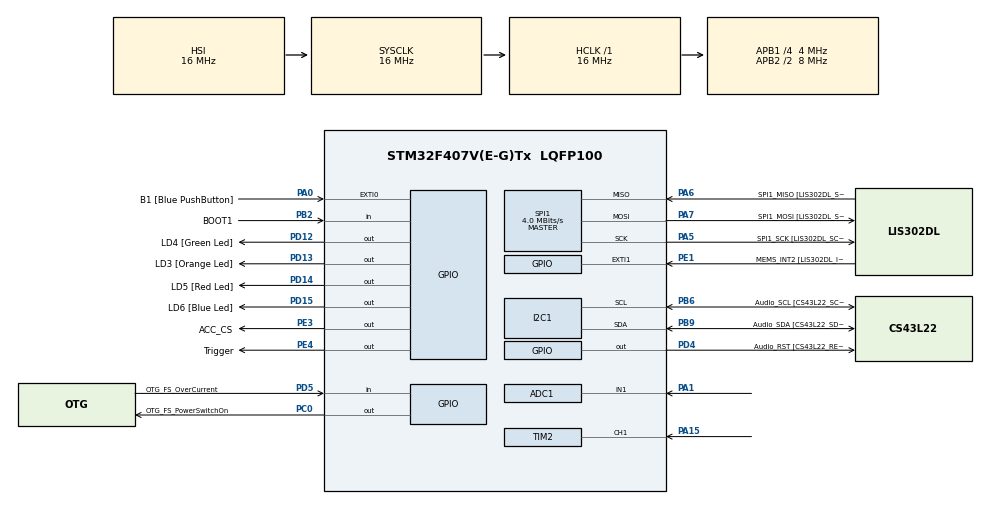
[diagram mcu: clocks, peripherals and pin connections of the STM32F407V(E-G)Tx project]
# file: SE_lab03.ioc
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ADC1.Channel-0\#ChannelRegularConversion=ADC_CHANNEL_1
ADC1.NbrOfConversionFlag=1
ADC1.Rank-0\#ChannelRegularConversion=1
ADC1.SamplingTime-0\#ChannelRegularConversion=ADC_SAMPLETIME_3CYCLES
ADC1.master=1
Mcu.Family=STM32F4
Mcu.Name=STM32F407V(E-G)Tx
Mcu.Package=LQFP100
NVIC.PriorityGroup=NVIC_PRIORITYGROUP_0
NVIC.TIM2_IRQn=true\:0\:0\:false\:false\:true\:true\:true\:true
PA0-WKUP.GPIO_Label=B1 [Blue PushButton]
PA0-WKUP.Signal=GPXTI0
PA1.Signal=ADCx_IN1
PA10.GPIO_Label=OTG_FS_ID
PA10.GPIO_Mode=GPIO_MODE_AF_PP
PA10.GPIO_PuPd=GPIO_NOPULL
PA10.GPIO_Speed=GPIO_SPEED_FREQ_LOW
PA10.Signal=USB_OTG_FS_ID
PA11.GPIO_Label=OTG_FS_DM
PA11.GPIO_Mode=GPIO_MODE_AF_PP
PA11.GPIO_PuPd=GPIO_NOPULL
PA11.GPIO_Speed=GPIO_SPEED_FREQ_LOW
PA11.Signal=USB_OTG_FS_DM
PA12.GPIO_Label=OTG_FS_DP
PA12.GPIO_Mode=GPIO_MODE_AF_PP
PA12.GPIO_PuPd=GPIO_NOPULL
PA12.GPIO_Speed=GPIO_SPEED_FREQ_LOW
PA12.Signal=USB_OTG_FS_DP
PA13.GPIO_Label=SWDIO
PA13.Mode=Serial_Wire
PA13.Signal=SYS_JTMS-SWDIO
PA14.GPIO_Label=SWCLK
PA14.Mode=Serial_Wire
PA14.Signal=SYS_JTCK-SWCLK
PA15.Signal=S_TIM2_CH1_ETR
PA4.GPIO_Label=I2S3_WS [CS43L22_LRCK]
PA4.GPIO_Mode=GPIO_MODE_AF_PP
PA4.GPIO_PuPd=GPIO_NOPULL
PA4.GPIO_Speed=GPIO_SPEED_FREQ_LOW
PA4.Signal=I2S3_WS
PA5.GPIO_Label=SPI1_SCK [LIS302DL_SCL/SPC]
PA5.GPIO_Mode=GPIO_MODE_AF_PP
PA5.GPIO_PuPd=GPIO_NOPULL
PA5.GPIO_Speed=GPIO_SPEED_FREQ_LOW
PA5.Mode=Full_Duplex_Master
PA5.Signal=SPI1_SCK
PA6.GPIO_Label=SPI1_MISO [LIS302DL_SDO]
PA6.GPIO_Mode=GPIO_MODE_AF_PP
PA6.GPIO_PuPd=GPIO_NOPULL
PA6.GPIO_Speed=GPIO_SPEED_FREQ_LOW
PA6.Mode=Full_Duplex_Master
PA6.Signal=SPI1_MISO
PA7.GPIO_Label=SPI1_MOSI [LIS302DL_SDA/SDI/SDO]
PA7.GPIO_Mode=GPIO_MODE_AF_PP
PA7.GPIO_PuPd=GPIO_NOPULL
PA7.GPIO_Speed=GPIO_SPEED_FREQ_LOW
PA7.Mode=Full_Duplex_Master
PA7.Signal=SPI1_MOSI
PA9.GPIO_Label=VBUS_FS
PA9.GPIO_Mode=GPIO_MODE_INPUT
PA9.GPIO_PuPd=GPIO_NOPULL
PA9.Signal=USB_OTG_FS_VBUS
PB10.GPIO_Label=CLK_IN [MP45DT02_CLK]
PB10.GPIO_Mode=GPIO_MODE_AF_PP
PB10.GPIO_PuPd=GPIO_NOPULL
PB10.GPIO_Speed=GPIO_SPEED_FREQ_LOW
PB10.Signal=I2S2_CK
PB2.GPIO_Label=BOOT1
PB2.GPIO_Mode=GPIO_MODE_INPUT
PB2.GPIO_PuPd=GPIO_NOPULL
PB2.Signal=GPIO_Input
PB3.GPIO_Label=SWO
PB3.Signal=SYS_JTDO-SWO
PB6.GPIO_Label=Audio_SCL [CS43L22_SCL]
PB6.GPIO_Mode=GPIO_MODE_AF_OD
PB6.GPIO_PuPd=GPIO_NOPULL
PB6.GPIO_Speed=GPIO_SPEED_FREQ_LOW
PB6.Mode=I2C
PB6.Signal=I2C1_SCL
PB9.GPIO_Label=Audio_SDA [CS43L22_SDA]
PB9.GPIO_Mode=GPIO_MODE_AF_OD
PB9.GPIO_PuPd=GPIO_NOPULL
PB9.GPIO_Speed=GPIO_SPEED_FREQ_LOW
PB9.Mode=I2C
PB9.Signal=I2C1_SDA
PC0.GPIO_Label=OTG_FS_PowerSwitchOn
PC0.GPIO_PuPd=GPIO_NOPULL
PC0.GPIO_Speed=GPIO_SPEED_FREQ_LOW
PC0.PinState=GPIO_PIN_SET
PC0.Signal=GPIO_Output
PC10.GPIO_Label=I2S3_SCK [CS43L22_SCLK]
PC10.GPIO_Mode=GPIO_MODE_AF_PP
PC10.GPIO_PuPd=GPIO_NOPULL
PC10.GPIO_Speed=GPIO_SPEED_FREQ_LOW
PC10.Signal=I2S3_CK
PC12.GPIO_Label=I2S3_SD [CS43L22_SDIN]
PC12.GPIO_Mode=GPIO_MODE_AF_PP
PC12.GPIO_PuPd=GPIO_NOPULL
PC12.GPIO_Speed=GPIO_SPEED_FREQ_LOW
PC12.Signal=I2S3_SD
PC14-OSC32_IN.GPIO_Label=PC14-OSC32_IN
PC14-OSC32_IN.Signal=RCC_OSC32_IN
PC15-OSC32_OUT.GPIO_Label=PC15-OSC32_OUT
PC15-OSC32_OUT.Signal=RCC_OSC32_OUT
PC3.GPIO_Label=PDM_OUT [MP45DT02_DOUT]
PC3.GPIO_Mode=GPIO_MODE_AF_PP
PC3.GPIO_PuPd=GPIO_NOPULL
PC3.GPIO_Speed=GPIO_SPEED_FREQ_LOW
PC3.Signal=I2S2_SD
PC7.GPIO_Label=I2S3_MCK [CS43L22_MCLK]
PC7.GPIO_Mode=GPIO_MODE_AF_PP
PC7.GPIO_PuPd=GPIO_NOPULL
PC7.GPIO_Speed=GPIO_SPEED_FREQ_LOW
PC7.Signal=I2S3_MCK
PD12.GPIO_Label=LD4 [Green Led]
PD12.GPIO_PuPd=GPIO_NOPULL
PD12.GPIO_Speed=GPIO_SPEED_FREQ_LOW
PD12.Signal=GPIO_Output
PD13.GPIO_Label=LD3 [Orange Led]
PD13.GPIO_PuPd=GPIO_NOPULL
PD13.GPIO_Speed=GPIO_SPEED_FREQ_LOW
PD13.Signal=GPIO_Output
PD14.GPIO_Label=LD5 [Red Led]
PD14.GPIO_PuPd=GPIO_NOPULL
PD14.GPIO_Speed=GPIO_SPEED_FREQ_LOW
PD14.Signal=GPIO_Output
PD15.GPIO_Label=LD6 [Blue Led]
PD15.GPIO_PuPd=GPIO_NOPULL
PD15.GPIO_Speed=GPIO_SPEED_FREQ_LOW
PD15.Signal=GPIO_Output
PD4.GPIO_Label=Audio_RST [CS43L22_RESET]
PD4.GPIO_PuPd=GPIO_NOPULL
PD4.GPIO_Speed=GPIO_SPEED_FREQ_LOW
PD4.Signal=GPIO_Output
PD5.GPIO_Label=OTG_FS_OverCurrent
PD5.GPIO_Mode=GPIO_MODE_INPUT
PD5.GPIO_PuPd=GPIO_NOPULL
PD5.Signal=GPIO_Input
PE1.GPIO_Label=MEMS_INT2 [LIS302DL_INT2]
PE1.GPIO_ModeDefaultEXTI=GPIO_MODE_EVT_RISING
PE1.GPIO_PuPd=GPIO_NOPULL
PE1.Signal=GPXTI1
PE3.GPIO_Label=ACC_CS
PE3.GPIO_PuPd=GPIO_NOPULL
PE3.GPIO_Speed=GPIO_SPEED_FREQ_LOW
PE3.PinState=GPIO_PIN_SET
PE3.Signal=GPIO_Output
PE4.GPIO_Label=Trigger
PE4.Signal=GPIO_Output
PH0-OSC_IN.GPIO_Label=PH0-OSC_IN
PH0-OSC_IN.Signal=RCC_OSC_IN
PH1-OSC_OUT.GPIO_Label=PH1-OSC_OUT
PH1-OSC_OUT.Signal=RCC_OSC_OUT
ProjectManager.HeapSize=0x200
ProjectManager.StackSize=0x400
ProjectManager.TargetToolchain=STM32CubeIDE
RCC.48MHZClocksFreq_Value=14285714.285714285
RCC.AHBFreq_Value=16000000
RCC.APB1CLKDivider=RCC_HCLK_DIV4
RCC.APB1Freq_Value=4000000
RCC.APB1TimFreq_Value=8000000
RCC.APB2CLKDivider=RCC_HCLK_DIV2
RCC.APB2Freq_Value=8000000
RCC.APB2TimFreq_Value=16000000
RCC.CortexFreq_Value=16000000
RCC.HCLKFreq_Value=16000000
RCC.HSE_VALUE=8000000
RCC.HSI_VALUE=16000000
RCC.LSE_VALUE=32768
RCC.PLLM=8
RCC.PLLN=50
RCC.PLLP=RCC_PLLP_DIV4
RCC.PLLQ=7
RCC.SYSCLKFreq_VALUE=16000000
RCC.VCOOutputFreq_Value=100000000
SH.ADCx_IN1.0=ADC1_IN1,IN1
SH.S_TIM2_CH1_ETR.0=TIM2_CH1,Input_Capture1_from_TI1
SPI1.CalculateBaudRate=4.0 MBits/s
SPI1.Direction=SPI_DIRECTION_2LINES
SPI1.Mode=SPI_MODE_MASTER
SPI1.VirtualType=VM_MASTER
TIM2.Channel-Input_Capture1_from_TI1=TIM_CHANNEL_1
TIM2.Prescaler=7
VP_TIM2_VS_ClockSourceINT.Mode=Internal
board=STM32F407G-DISC1

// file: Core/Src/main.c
/* USER CODE BEGIN Header */
/**
 ******************************************************************************
 * @file           : main.c
 * @brief          : Main program body
 ******************************************************************************
 * @attention
 *
 * Copyright (c) 2026 STMicroelectronics.
 * All rights reserved.
 *
 * This software is licensed under terms that can be found in the LICENSE file
 * in the root directory of this software component.
 * If no LICENSE file comes with this software, it is provided AS-IS.
 *
 ******************************************************************************
 */
/* USER CODE END Header */
#include "main.h"
#include "adc.h"
#include "i2c.h"
#include "spi.h"
#include "tim.h"
#include "gpio.h"

/* USER CODE BEGIN Includes */
#include "stm32f4_discovery_accelerometer.h"
#include "HC_SR04.h"
#include "lm35.h"

/* USER CODE END Includes */

/* USER CODE BEGIN PD */
#define ACCEL_MESURAMENT_INTERVALE_MS 50
#define ACCEL_X_UMBRAL 100
#define ACCEL_Y_UMBRAL 100

#define HCSR04_MESURAMENT_INTERVALE_MS 100
#define HCSR04_TIMEOUT_ECO_MS 150
#define LM35_MESURAMENT_INTERVALE_MS 1000
#define ALARM_INTERVALE_MS 100

/* USER CODE END PD */

/* USER CODE BEGIN PV */

HCSR04_HandleTypeDef hcsr04_sensor;
LM35_HandleTypeDef lm35_sensor_1;

int16_t accel_data_xyz[3];

/* USER CODE END PV */

void SystemClock_Config(void);

int main(void)
{

  /* MCU Configuration--------------------------------------------------------*/

  /* Reset of all peripherals, Initializes the Flash interface and the Systick. */
  HAL_Init();

  /* Configure the system clock */
  SystemClock_Config();

  /* Initialize all configured peripherals */
  MX_GPIO_Init();
  MX_TIM2_Init();
  MX_ADC1_Init();
  MX_SPI1_Init();
  MX_I2C1_Init();
  /* USER CODE BEGIN 2 */
	BSP_ACCELERO_Init();

	HAL_TIM_IC_Start_IT(&htim2, TIM_CHANNEL_1);

	hcsr04_sensor.htim = &htim2;
	hcsr04_sensor.IC_Channel = TIM_CHANNEL_1;
	hcsr04_sensor.Trig_Pin = Trigger_Pin;
	hcsr04_sensor.Trig_Port = Trigger_GPIO_Port;

	hcsr04_init(&hcsr04_sensor);
	LM35_Init(&lm35_sensor_1, &hadc1, ADC_CHANNEL_1);

  /* USER CODE END 2 */

  /* Infinite loop */
  /* USER CODE BEGIN WHILE */
	uint32_t accel_last_tick_read = 0;

	uint8_t hcsr04_is_measurement = 0;
	uint32_t hcsr04_last_tick_read = 0;

	uint8_t lm35_1_is_measurement = 0;
	uint32_t lm35_1_last_tick_read = 0;
	float lm35_1_temp = 0.0f;

	uint8_t is_active_obstacle_alarm = 0;
	uint8_t alarm_is_blinking = 0;
	uint32_t alarm_last_tick_read = 0;

	while (1) {
		// Sensor ultrasonico HC-SR04
		if (!hcsr04_is_measurement
				&& (HAL_GetTick() - hcsr04_last_tick_read > HCSR04_MESURAMENT_INTERVALE_MS)) {
			hcsr04_is_measurement = 1;

			hcsr04_start_measurement(&hcsr04_sensor);
		} else if (hcsr04_is_data_ready(&hcsr04_sensor)) {
			hcsr04_is_measurement = 0;
			hcsr04_last_tick_read = HAL_GetTick();

			float distance = hcsr04_get_distance_cm(&hcsr04_sensor);

			if (distance > 15.0) {
				is_active_obstacle_alarm = 0;
				alarm_is_blinking = 0;
			} else {
				is_active_obstacle_alarm = 1;
			}
		} else if (hcsr04_is_measurement
				&& (HAL_GetTick() - hcsr04_last_tick_read > HCSR04_TIMEOUT_ECO_MS)) {
			// TIMEOUT DE SEGURIDAD (más de 100ms esperando el eco)

			hcsr04_is_measurement = 0; // Fuerza a reintentar en el siguiente ciclo
			hcsr04_last_tick_read = HAL_GetTick();

			// Limpiar channel del timer
			HAL_TIM_IC_Stop_IT(&htim2, TIM_CHANNEL_1);
		}

		// Sensor de temperatura LM35
		if (!lm35_1_is_measurement
				&& (HAL_GetTick() - lm35_1_last_tick_read > LM35_MESURAMENT_INTERVALE_MS)) {
			lm35_1_is_measurement = 1;

			LM35_Start_Conversion(&lm35_sensor_1);
		} else if (LM35_Get_Temperature(&lm35_sensor_1, &lm35_1_temp)) {
			lm35_1_is_measurement = 0;
			lm35_1_last_tick_read = HAL_GetTick();

			lm35_1_temp += 0.0001f;
		}
    /* USER CODE END WHILE */

    /* USER CODE BEGIN 3 */

		if (HAL_GetTick() - accel_last_tick_read > ACCEL_MESURAMENT_INTERVALE_MS) {
			BSP_ACCELERO_GetXYZ(accel_data_xyz);

			int16_t x = accel_data_xyz[0];
			int16_t y = accel_data_xyz[1];
			// int16_t z = accel_data[2];

			if (x > ACCEL_X_UMBRAL) {
				HAL_GPIO_WritePin(LD4_GPIO_Port, LD4_Pin, GPIO_PIN_SET);
				HAL_GPIO_WritePin(LD5_GPIO_Port, LD5_Pin, GPIO_PIN_RESET);
			} else if (x < -ACCEL_X_UMBRAL) {
				HAL_GPIO_WritePin(LD5_GPIO_Port, LD5_Pin, GPIO_PIN_SET);
				HAL_GPIO_WritePin(LD4_GPIO_Port, LD4_Pin, GPIO_PIN_RESET);
			} else if (y > ACCEL_Y_UMBRAL) {
				if (!is_active_obstacle_alarm) {
					HAL_GPIO_WritePin(LD6_GPIO_Port, LD6_Pin, GPIO_PIN_SET);
				}
				HAL_GPIO_WritePin(LD3_GPIO_Port, LD3_Pin, GPIO_PIN_RESET);
			} else if (y < -ACCEL_Y_UMBRAL) {
				HAL_GPIO_WritePin(LD3_GPIO_Port, LD3_Pin, GPIO_PIN_SET);
				HAL_GPIO_WritePin(LD6_GPIO_Port, LD6_Pin, GPIO_PIN_RESET);
			} else {
				HAL_GPIO_WritePin(GPIOD, LD3_Pin|LD4_Pin|LD5_Pin|LD6_Pin, GPIO_PIN_RESET);
			}
		}

		if (is_active_obstacle_alarm) {
			if (HAL_GetTick() - alarm_last_tick_read > ALARM_INTERVALE_MS) {
				alarm_last_tick_read = HAL_GetTick();
				alarm_is_blinking = !alarm_is_blinking;
			}

			if (alarm_is_blinking) {
				HAL_GPIO_WritePin(LD5_GPIO_Port, LD5_Pin, GPIO_PIN_SET);
			} else {
				HAL_GPIO_WritePin(LD5_GPIO_Port, LD5_Pin, GPIO_PIN_RESET);
			}
		}
	}
  /* USER CODE END 3 */
}

void SystemClock_Config(void)
{
  RCC_OscInitTypeDef RCC_OscInitStruct = {0};
  RCC_ClkInitTypeDef RCC_ClkInitStruct = {0};

  /** Configure the main internal regulator output voltage
  */
  __HAL_RCC_PWR_CLK_ENABLE();
  __HAL_PWR_VOLTAGESCALING_CONFIG(PWR_REGULATOR_VOLTAGE_SCALE1);

  /** Initializes the RCC Oscillators according to the specified parameters
  * in the RCC_OscInitTypeDef structure.
  */
  RCC_OscInitStruct.OscillatorType = RCC_OSCILLATORTYPE_HSI;
  RCC_OscInitStruct.HSIState = RCC_HSI_ON;
  RCC_OscInitStruct.HSICalibrationValue = RCC_HSICALIBRATION_DEFAULT;
  RCC_OscInitStruct.PLL.PLLState = RCC_PLL_NONE;
  if (HAL_RCC_OscConfig(&RCC_OscInitStruct) != HAL_OK)
  {
    Error_Handler();
  }

  /** Initializes the CPU, AHB and APB buses clocks
  */
  RCC_ClkInitStruct.ClockType = RCC_CLOCKTYPE_HCLK|RCC_CLOCKTYPE_SYSCLK
                              |RCC_CLOCKTYPE_PCLK1|RCC_CLOCKTYPE_PCLK2;
  RCC_ClkInitStruct.SYSCLKSource = RCC_SYSCLKSOURCE_HSI;
  RCC_ClkInitStruct.AHBCLKDivider = RCC_SYSCLK_DIV1;
  RCC_ClkInitStruct.APB1CLKDivider = RCC_HCLK_DIV4;
  RCC_ClkInitStruct.APB2CLKDivider = RCC_HCLK_DIV2;

  if (HAL_RCC_ClockConfig(&RCC_ClkInitStruct, FLASH_LATENCY_0) != HAL_OK)
  {
    Error_Handler();
  }
}

/* USER CODE BEGIN 4 */

void HAL_TIM_IC_CaptureCallback(TIM_HandleTypeDef *htim) {
	hcsr04_tim_ic_callback(&hcsr04_sensor, htim);
}

/* USER CODE END 4 */

void Error_Handler(void)
{
	__disable_irq();
	while (1) {
	}
}
